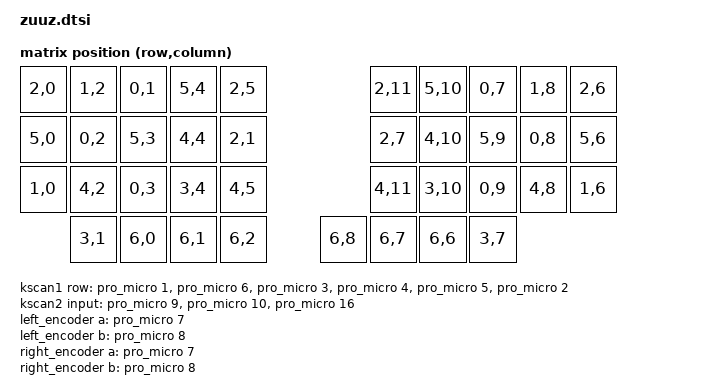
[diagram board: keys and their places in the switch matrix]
/*
 * Copyright (c) 2020 The ZMK Contributors
 *
 * SPDX-License-Identifier: MIT
 */

#include <dt-bindings/zmk/matrix_transform.h>

/ {

    chosen {
        zmk,kscan = &kscan0;
        zmk,matrix_transform = &default_transform;
    };
	 
    default_transform: keymap_transform_0 {
        compatible = "zmk,matrix-transform";
        rows = <7>;
        columns = <12>;

        map = <
			RC(2,0) RC(1,2) RC(0,1) RC(5,4) RC(2,5)                 RC(2,11) RC(5,10) RC(0,7) RC(1,8) RC(2,6)
			RC(5,0) RC(0,2) RC(5,3) RC(4,4) RC(2,1)                 RC(2,7)  RC(4,10) RC(5,9) RC(0,8) RC(5,6)
			RC(1,0) RC(4,2) RC(0,3) RC(3,4) RC(4,5)                 RC(4,11) RC(3,10) RC(0,9) RC(4,8) RC(1,6) 

			        RC(3,1)    RC(6,0) RC(6,1) RC(6,2)    RC(6,8) RC(6,7) RC(6,6)   RC(3,7) 
								 
								 
        >;

        // Include the matrix driver 
        matrix {
            kscan = <&kscan1>;
        };

        // Include the direct GPIO driver...
        direct {
            kscan = <&kscan2>;
            row-offset = <6>; // ...and shift it to not overlap
        };
    };
 
    kscan0: kscan_composite  {
        compatible = "zmk,kscan-composite";
        columns = <12>;
        rows = <7>;

        // Include the matrix driver
        matrix {
            kscan = <&kscan1>;
        };

        // Include the direct GPIO driver...
        direct {
            kscan = <&kscan2>;
            row-offset = <6>; // ...and shift it to not overlap
        };
	};

    kscan1: kscan_matrix  {
        compatible = "zmk,kscan-gpio-matrix";
		
		diode-direction = "col2row";
		
		row-gpios
        = <&pro_micro 1 (GPIO_ACTIVE_HIGH | GPIO_PULL_DOWN)> // Row A from the schematic file
            , <&pro_micro 6 (GPIO_ACTIVE_HIGH | GPIO_PULL_DOWN)> // Row B from the schematic file
            , <&pro_micro 3 (GPIO_ACTIVE_HIGH | GPIO_PULL_DOWN)> // Row C from the schematic file
            , <&pro_micro 4 (GPIO_ACTIVE_HIGH | GPIO_PULL_DOWN)> // Row D from the schematic file
            , <&pro_micro 5 (GPIO_ACTIVE_HIGH | GPIO_PULL_DOWN)> // Row E from the schematic file
            , <&pro_micro 2 (GPIO_ACTIVE_HIGH | GPIO_PULL_DOWN)> // Row E from the schematic file
			;
    };

    kscan2: kscan_direct {
        compatible = "zmk,kscan-gpio-direct";
        input-gpios
        = <&pro_micro  9 (GPIO_ACTIVE_LOW | GPIO_PULL_UP)>
        , <&pro_micro 10 (GPIO_ACTIVE_LOW | GPIO_PULL_UP)>
        , <&pro_micro 16 (GPIO_ACTIVE_LOW | GPIO_PULL_UP)>
	   ;
	};

	
  left_encoder: left_encoder {
        compatible = "alps,ec11";
		steps = <20>;
        status = "disabled";
        a-gpios = <&pro_micro 7 GPIO_PULL_UP>;
        b-gpios = <&pro_micro 8 GPIO_PULL_UP>;
    };

    right_encoder: right_encoder {
        compatible = "alps,ec11";
		steps = <20>;
        status = "disabled";
        a-gpios = <&pro_micro 7 GPIO_PULL_UP>;
        b-gpios = <&pro_micro 8 GPIO_PULL_UP>;
    };

    sensors {
        compatible = "zmk,keymap-sensors";
        sensors = <&left_encoder &right_encoder>;
    };
};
